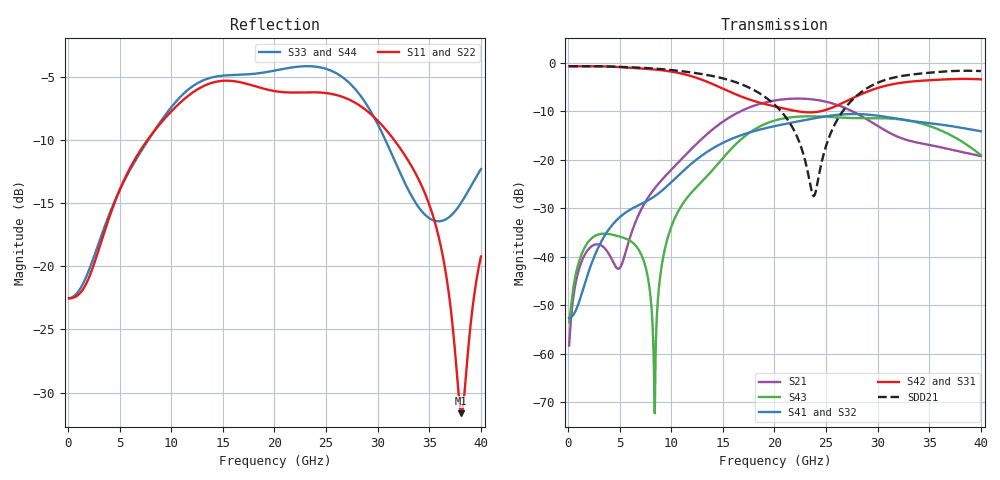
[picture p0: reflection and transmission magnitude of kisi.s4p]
! E_s8_L1L3_p1000_round_g2: pair L1→L3, pitch 1 mm, two round antipads, 2 GND vias
! stackup: 8-layer 1.6 mm FR-4 (generic)
! ports: 1 P near, 2 N near, 3 P far, 4 N far
! kisi-fdtd, conformal, dfine 0.0175 mm (the cell at metal ÷ 2), 1729728 cells
# Hz S RI R 50
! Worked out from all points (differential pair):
!   400 points, 100 MHz to 40 GHz, reference 50 ohm
!   strongest paths, dB at 100 MHz, 10.1 GHz, 20.1 GHz, 30.1 GHz, 40 GHz:
!     S42: -0.7, -1.8, -9.0, -5.1, -3.4
!     S31: -0.7, -1.8, -9.0, -5.1, -3.4
!     S41: -52.6, -24.4, -13.0, -10.9, -14.1
!     S32: -52.6, -24.4, -13.0, -10.9, -14.1
!     S43: -53.5, -33.3, -11.8, -11.4, -19.0
!     S21: -58.3, -21.8, -7.7, -13.1, -19.2
!   taken as a pair (ports 2,1 in; 4,3 out), SDD21 dB: -0.7, -1.5, -8.8, -4.0, -1.7
!   lowest |S11| = -31.6 dB at 38.1 GHz (marker M1), VSWR 1.05, Z = 51.4 + j2.23 ohm
!   |S11| at or under -10 dB: start of sweep to 7.678 GHz; 31.62 GHz to end of sweep
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1e8  -0.0746 -0.000375  -0.000927 0.000785  0.9257 -0.0341  -0.000618 -0.000402
     -0.000927 0.000785  -0.0746 -0.000375  -0.000618 -0.000402  0.9257 -0.0341
     0.9233 -0.0338  -0.00233 -0.000167  -0.0748 -0.000331  -0.00187 0.000963
     -0.00233 -0.000167  0.9233 -0.0338  -0.00187 0.000963  -0.0748 -0.000331
3.6e9  -0.1402 0.00345  0.0121 0.000519  0.2151 -0.8936  -0.0164 -0.00157
       0.0121 0.000519  -0.1402 0.00345  -0.0164 -0.00157  0.2151 -0.8936
       0.2148 -0.8955  -0.0166 -0.00293  -0.1426 0.0314  0.0171 0.00284
       -0.0166 -0.00293  0.2148 -0.8955  0.0171 0.00284  -0.1426 0.0314
8.2e9  -0.0184 0.3373  0.0471 0.00828  -0.8555 -0.0678  0.0148 0.0389
       0.0471 0.00828  -0.0184 0.3373  0.0148 0.0389  -0.8555 -0.0678
       -0.8557 -0.0689  0.0147 0.0381  0.00735 0.3373  0.000334 -0.00182
       0.0147 0.0381  -0.8557 -0.0689  0.000334 -0.00182  0.00735 0.3373
1.81e10  -0.3858 -0.3459  -0.1 0.3506  0.3932 -0.0883  -0.0413 0.1948
         -0.1 0.3506  -0.3858 -0.3459  -0.0413 0.1948  0.3932 -0.0883
         0.3927 -0.0885  -0.0417 0.1946  -0.5157 -0.2664  0.0487 0.2017
         -0.0417 0.1946  0.3927 -0.0885  0.0487 0.2017  -0.5157 -0.2664
3.03e10  0.2547 -0.2644  -0.0991 0.1899  -0.5453 0.1464  0.0867 0.2691
         -0.0991 0.1899  0.2547 -0.2644  0.0867 0.2691  -0.5453 0.1464
         -0.5446 0.146  0.0873 0.2689  0.1562 -0.309  0.1211 0.2403
         0.0873 0.2689  -0.5446 0.146  0.1211 0.2403  0.1562 -0.309
3.81e10  0.0147 0.0216  0.0532 -0.1086  0.6841 -0.0135  -0.1301 -0.1726
         0.0532 -0.1086  0.0147 0.0216  -0.1301 -0.1726  0.6841 -0.0135
         0.6844 -0.0106  -0.13 -0.1704  -0.1713 0.0519  -0.1028 -0.1173
         -0.13 -0.1704  0.6844 -0.0106  -0.1028 -0.1173  -0.1713 0.0519
4e10  0.0331 -0.1043  -0.048 -0.0984  0.5125 -0.437  -0.1978 -0.0185
      -0.048 -0.0984  0.0331 -0.1043  -0.1978 -0.0185  0.5125 -0.437
      0.5143 -0.4411  -0.1962 -0.0213  -0.169 0.1742  -0.1119 0.00277
      -0.1962 -0.0213  0.5143 -0.4411  -0.1119 0.00277  -0.169 0.1742
